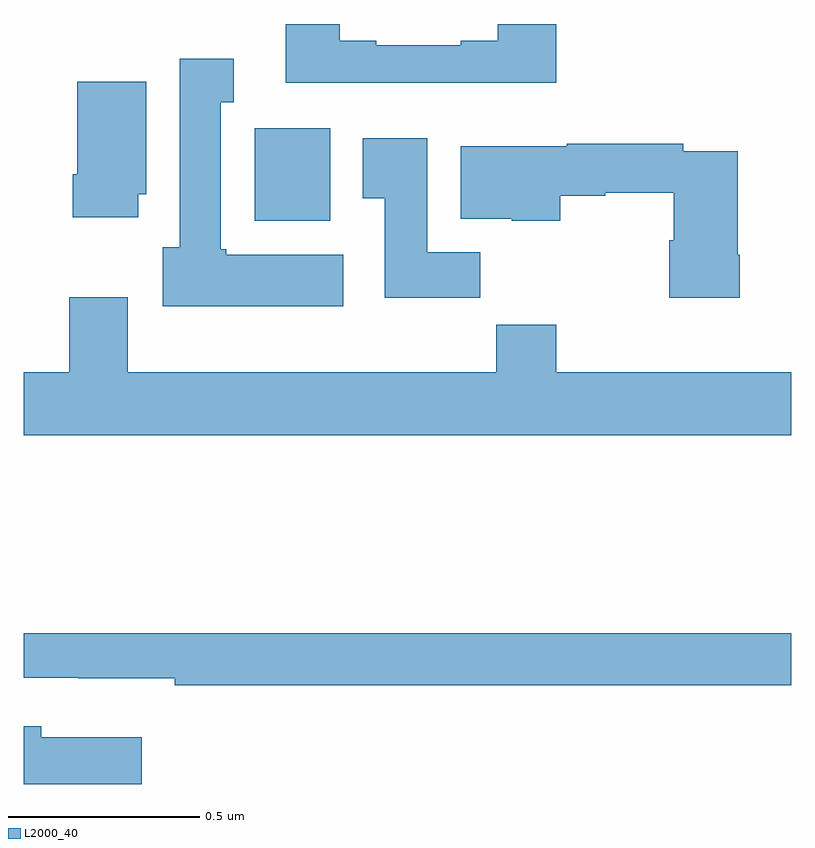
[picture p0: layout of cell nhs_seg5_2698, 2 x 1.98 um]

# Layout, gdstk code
import gdstk
lib = gdstk.Library(unit=1e-6, precision=1e-09)
def R(c, l, rs):  # rectangles x0, y0, x1, y1
    for r in rs: c.add(gdstk.rectangle(r[:2], r[2:], *l))
def P(c, l, *ps):  # polygons
    for p in ps: c.add(gdstk.Polygon(p, *l))
L2000_40 = (2000, 40)

nhs_seg5_2698 = lib.new_cell('nhs_seg5_2698')
R(nhs_seg5_2698, L2000_40, [(147.602,889.286,147.799,889.528)])
P(nhs_seg5_2698, L2000_40, [(148.388,889.799),(148.235,889.799),(148.235,889.756),(148.139,889.756),(148.139,889.743),(147.919,889.743),(147.919,889.756),(147.823,889.756),(147.823,889.799),(147.683,889.799),(147.683,889.646),(148.388,889.646)],
  [(147.832,889.198),(147.528,889.198),(147.528,889.212),(147.514,889.212),(147.514,889.595),(147.547,889.595),(147.547,889.708),(147.407,889.708),(147.407,889.218),(147.362,889.218),(147.362,889.064),(147.832,889.064)],
  [(147.298,889.356),(147.319,889.356),(147.319,889.648),(147.14,889.648),(147.14,889.408),(147.128,889.408),(147.128,889.296),(147.298,889.296)],
  [(148.19,889.204),(148.051,889.204),(148.051,889.501),(147.884,889.501),(147.884,889.345),(147.941,889.345),(147.941,889.086),(148.19,889.086)],
  [(148.865,889.198),(148.86,889.198),(148.86,889.467),(148.718,889.467),(148.718,889.487),(148.415,889.487),(148.415,889.48),(148.139,889.48),(148.139,889.292),(148.272,889.292),(148.272,889.286),(148.398,889.286),(148.398,889.351),(148.515,889.351),(148.515,889.359),(148.694,889.359),(148.694,889.236),(148.682,889.236),(148.682,889.086),(148.865,889.086)],
  [(149,888.892),(148.388,888.892),(148.388,889.016),(148.231,889.016),(148.231,888.892),(147.271,888.892),(147.271,889.087),(147.119,889.087),(147.119,888.892),(147,888.892),(147,888.728),(149,888.728)],
  [(149,888.212),(147,888.212),(147,888.096),(147.142,888.096),(147.142,888.095),(147.394,888.095),(147.394,888.076),(149,888.076)],
  [(147.307,887.941),(147.046,887.941),(147.046,887.97),(147,887.97),(147,887.819),(147.307,887.819)])

lib.write_gds('nhs_seg5_2698.gds')
